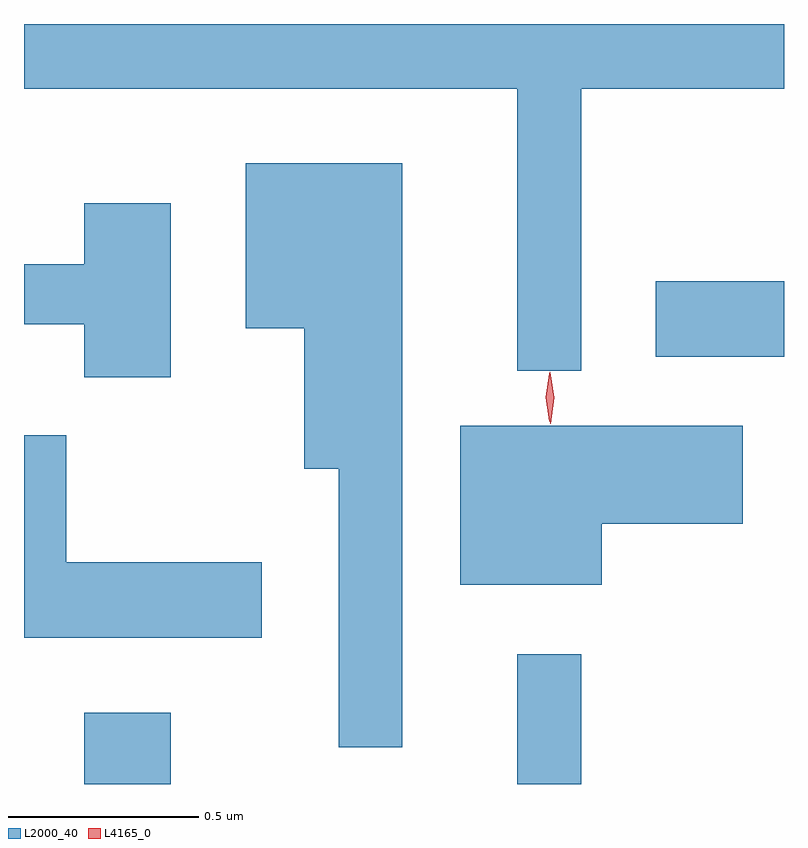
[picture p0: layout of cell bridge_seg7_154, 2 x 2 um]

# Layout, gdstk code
import gdstk
lib = gdstk.Library(unit=1e-6, precision=1e-09)
def R(c, l, rs):  # rectangles x0, y0, x1, y1
    for r in rs: c.add(gdstk.rectangle(r[:2], r[2:], *l))
def P(c, l, *ps):  # polygons
    for p in ps: c.add(gdstk.Polygon(p, *l))
L2000_40 = (2000, 40)
L4165_0 = (4165, 0)

bridge_seg7_154 = lib.new_cell('bridge_seg7_154')
R(bridge_seg7_154, L2000_40, [(1631.231,1716.926,1631.459,1717.114), (1632.371,1716.926,1632.539,1717.268), (1632.736,1718.051,1633.073,1718.249)])
P(bridge_seg7_154, L2000_40, [(1632.539,1718.756),(1633.073,1718.756),(1633.073,1718.926),(1631.073,1718.926),(1631.073,1718.756),(1632.371,1718.756),(1632.371,1718.013),(1632.539,1718.013)],
  [(1632.069,1718.559),(1631.656,1718.559),(1631.656,1718.126),(1631.811,1718.126),(1631.811,1717.756),(1631.901,1717.756),(1631.901,1717.023),(1632.069,1717.023)],
  [(1631.459,1718.454),(1631.231,1718.454),(1631.231,1718.294),(1631.073,1718.294),(1631.073,1718.136),(1631.231,1718.136),(1631.231,1717.996),(1631.459,1717.996)],
  [(1632.594,1717.611),(1632.964,1717.611),(1632.964,1717.869),(1632.221,1717.869),(1632.221,1717.451),(1632.594,1717.451)],
  [(1631.699,1717.509),(1631.184,1717.509),(1631.184,1717.844),(1631.073,1717.844),(1631.073,1717.311),(1631.699,1717.311)])
P(bridge_seg7_154, L4165_0, [(1632.458,1717.874),(1632.458,1717.874),(1632.448,1717.942),(1632.457,1718.01),(1632.458,1718.01),(1632.458,1718.01),(1632.468,1717.942),(1632.459,1717.874)],
  [(1632.456,1717.88),(1632.455,1717.881),(1632.446,1717.944),(1632.455,1718.006),(1632.455,1718.007),(1632.456,1718.006),(1632.465,1717.944),(1632.456,1717.881)])

lib.write_gds('bridge_seg7_154.gds')
